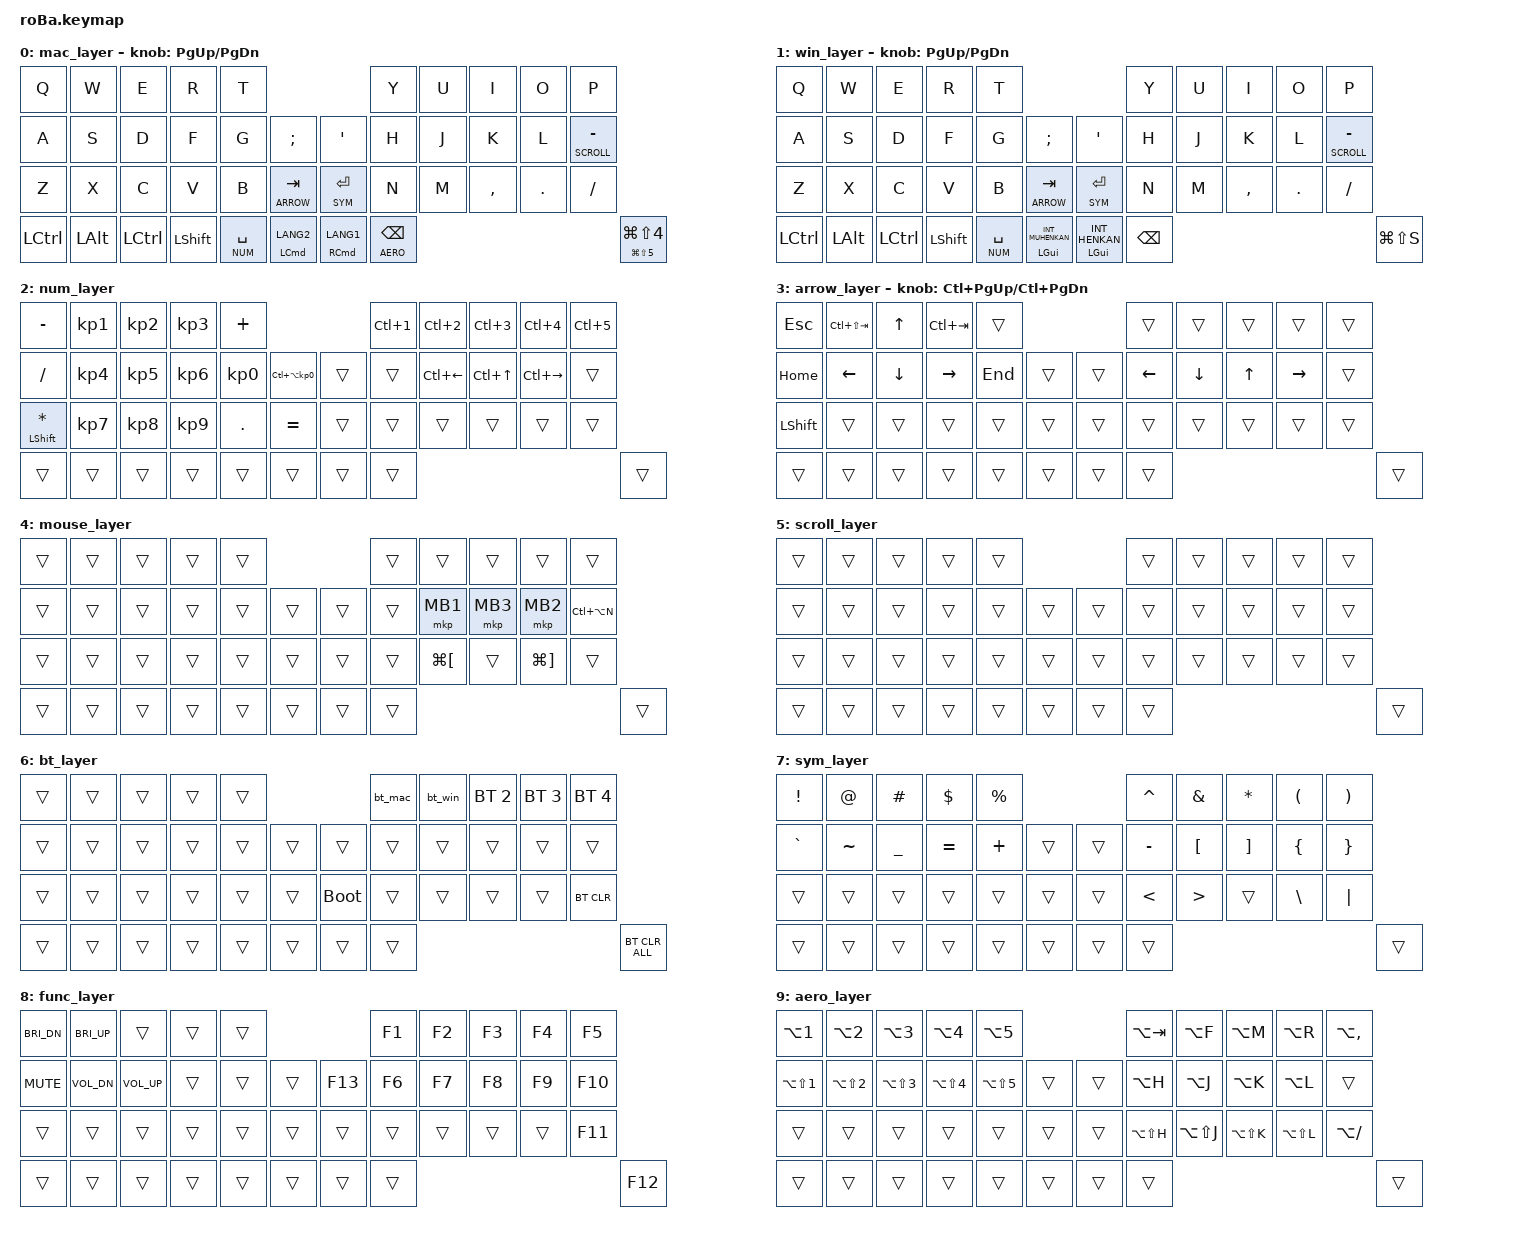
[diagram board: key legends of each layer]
#include <behaviors.dtsi>
#include <dt-bindings/zmk/bt.h>
#include <dt-bindings/zmk/keys.h>
#include <dt-bindings/zmk/pointing.h>
#include <input/processors.dtsi>

#define MAC 0
#define WIN 1
#define NUM 2
#define ARROW 3
#define MOUSE 4
#define SCROLL 5
#define BT 6
#define SYM 7
#define FUNC 8
#define AERO 9

&mt {
    flavor = "balanced";
    quick-tap-ms = <0>;
};

&trackball {
    scroll-layers = <SCROLL>;
};

/ {
    combos {
        compatible = "zmk,combos";

        tab {
            bindings = <&kp TAB>;
            key-positions = <11 12>;
        };

        shift_tab {
            bindings = <&kp LS(TAB)>;
            key-positions = <12 13>;
        };

        double_quotation {
            bindings = <&kp DOUBLE_QUOTES>;
            key-positions = <20 21>;
        };

        eq {
            bindings = <&kp EQUAL>;
            key-positions = <24 25>;
        };

        bt_layer {
            bindings = <&mo BT>;
            key-positions = <34 37>;
        };

        // ESC: Q + W
        esc {
            bindings = <&kp ESC>;
            key-positions = <0 1>;
        };

        // 前タブ: U + I (Ctrl+Shift+Tab)
        tab_prev {
            bindings = <&kp LC(LS(TAB))>;
            key-positions = <6 7>;
        };

        // 次タブ: I + O (Ctrl+Tab)
        tab_next {
            bindings = <&kp LC(TAB)>;
            key-positions = <7 8>;
        };

        // 戻る: M + , (Cmd+[)
        back {
            bindings = <&kp LG(LBKT)>;
            key-positions = <30 31>;
        };

        // 進む: , + . (Cmd+])
        forward {
            bindings = <&kp LG(RBKT)>;
            key-positions = <31 32>;
        };
    };

    macros {
        bt_mac: bt_mac {
            compatible = "zmk,behavior-macro";
            #binding-cells = <0>;
            bindings = <&bt BT_SEL 0 &to MAC>;
            label = "BT_MAC";
        };

        bt_win: bt_win {
            compatible = "zmk,behavior-macro";
            #binding-cells = <0>;
            bindings = <&bt BT_SEL 1 &to WIN>;
            label = "BT_WIN";
        };
    };

    behaviors {
        cmd_eisu: cmd_eisu {
            compatible = "zmk,behavior-hold-tap";
            label = "CMD_EISU";
            bindings = <&kp>, <&kp>;
            #binding-cells = <2>;
            tapping-term-ms = <200>;
            flavor = "balanced";
        };

        // hold: Cmd+Shift+5 / tap: Cmd+Shift+4
        ss_ht: ss_ht {
            compatible = "zmk,behavior-hold-tap";
            label = "SS_HT";
            bindings = <&kp>, <&kp>;
            #binding-cells = <2>;
            tapping-term-ms = <200>;
            flavor = "balanced";
        };
    };

    conditional_layers {
        compatible = "zmk,conditional-layers";

        // Space(NUM) + Enter(SYM) 同時押しで FUNC
        tri_layer {
            if-layers = <NUM SYM>;
            then-layer = <FUNC>;
        };
    };

    keymap {
        compatible = "zmk,keymap";

        // Layer 0: Mac
        mac_layer {
            bindings = <
&kp Q      &kp W         &kp E      &kp R           &kp T                                              &kp Y              &kp U  &kp I      &kp O         &kp P
&kp A      &kp S         &kp D      &kp F           &kp G          &kp SEMICOLON  &kp SQT              &kp H              &kp J  &kp K      &kp L  &lt SCROLL MINUS
&kp Z      &kp X         &kp C      &kp V           &kp B          &lt ARROW TAB  &lt SYM ENTER       &kp N              &kp M  &kp COMMA  &kp DOT  &kp SLASH
&kp LCTRL  &kp LEFT_ALT  &kp LCTRL  &kp LEFT_SHIFT  &lt NUM SPACE  &mt LCMD LANG2  &mt RCMD LANG1      &lt AERO BACKSPACE                                  &ss_ht LG(LS(N5)) LG(LS(N4))
            >;

            sensor-bindings = <&inc_dec_kp PG_UP PAGE_DOWN>;
        };

        // Layer 1: Windows (MACレイヤーと同じ体験 / Cmd相当=LGUI、英数/かな=無変換/変換)
        win_layer {
            bindings = <
&kp Q      &kp W         &kp E      &kp R           &kp T                                                       &kp Y                  &kp U  &kp I      &kp O    &kp P
&kp A      &kp S         &kp D      &kp F           &kp G          &kp SEMICOLON          &kp SQT              &kp H                  &kp J  &kp K      &kp L    &lt SCROLL MINUS
&kp Z      &kp X         &kp C      &kp V           &kp B          &lt ARROW TAB          &lt SYM ENTER       &kp N                  &kp M  &kp COMMA  &kp DOT  &kp SLASH
&kp LCTRL  &kp LEFT_ALT  &kp LCTRL  &kp LEFT_SHIFT  &lt NUM SPACE  &mt LGUI INT_MUHENKAN  &mt LGUI INT_HENKAN  &kp BACKSPACE                                       &kp LG(LS(S))
            >;

            sensor-bindings = <&inc_dec_kp PG_UP PAGE_DOWN>;
        };

        // Layer 2: NUM (共通)
        // 左手=電卓配列の数字 / 右手=macOS Spaces操作
        // 上段Y-P=デスクトップ1-5へ直接ジャンプ(Ctrl+1-5、要システム設定で有効化)
        // J/L=左右のスペースへ(Ctrl+←/→)、K=Mission Control(Ctrl+↑)
        num_layer {
            bindings = <
&kp MINUS                &kp KP_NUMBER_1  &kp KP_NUMBER_2  &kp KP_NUMBER_3  &kp PLUS                                                      &kp LC(N1)  &kp LC(N2)    &kp LC(N3)  &kp LC(N4)     &kp LC(N5)
&kp SLASH                &kp KP_NUMBER_4  &kp KP_NUMBER_5  &kp KP_NUMBER_6  &kp KP_NUMBER_0  &kp LC(LA(KP_NUMBER_0))      &trans          &trans      &kp LC(LEFT)  &kp LC(UP)  &kp LC(RIGHT)  &trans
&mt LEFT_SHIFT ASTERISK  &kp KP_NUMBER_7  &kp KP_NUMBER_8  &kp KP_NUMBER_9  &kp PERIOD       &kp EQUAL                    &trans          &trans      &trans        &trans      &trans         &trans
&trans                   &trans           &trans           &trans           &trans           &trans                       &trans          &trans                                                &trans
            >;
        };

        // Layer 3: ARROW (共通)
        arrow_layer {
            bindings = <
&kp ESCAPE      &kp LC(LS(TAB))  &kp UP_ARROW    &kp LC(TAB)      &trans                       &trans  &trans  &trans  &trans  &trans
&kp HOME        &kp LEFT_ARROW   &kp DOWN_ARROW  &kp RIGHT_ARROW  &kp END  &trans      &trans  &kp LEFT_ARROW  &kp DOWN_ARROW  &kp UP_ARROW  &kp RIGHT_ARROW  &trans
&kp LEFT_SHIFT  &trans           &trans          &trans           &trans   &trans      &trans  &trans  &trans  &trans  &trans  &trans
&trans          &trans           &trans          &trans           &trans   &trans      &trans  &trans                          &trans
            >;

            sensor-bindings = <&inc_dec_kp LC(PAGE_UP) LC(PAGE_DOWN)>;
        };

        // Layer 4: MOUSE (自動 via zip_temp_layer)
        mouse_layer {
            bindings = <
&trans  &trans  &trans  &trans  &trans                      &trans  &trans        &trans    &trans        &trans
&trans  &trans  &trans  &trans  &trans  &trans      &trans  &trans  &mkp MB1     &mkp MB3  &mkp MB2      &kp LC(LA(N))
&trans  &trans  &trans  &trans  &trans  &trans      &trans  &trans  &kp LG(LBKT) &trans    &kp LG(RBKT)  &trans
&trans  &trans  &trans  &trans  &trans  &trans      &trans  &trans                                       &trans
            >;
        };

        // Layer 5: SCROLL
        scroll_layer {
            bindings = <
&trans  &trans  &trans  &trans  &trans                      &trans  &trans  &trans  &trans  &trans
&trans  &trans  &trans  &trans  &trans  &trans      &trans  &trans  &trans  &trans  &trans  &trans
&trans  &trans  &trans  &trans  &trans  &trans      &trans  &trans  &trans  &trans  &trans  &trans
&trans  &trans  &trans  &trans  &trans  &trans      &trans  &trans                          &trans
            >;
        };

        // Layer 6: BT設定 + Mac/Windows切替
        bt_layer {
            bindings = <
&trans  &trans  &trans  &trans  &trans                           &bt_mac  &bt_win  &bt BT_SEL 2  &bt BT_SEL 3  &bt BT_SEL 4
&trans  &trans  &trans  &trans  &trans  &trans      &trans       &trans   &trans   &trans        &trans        &trans
&trans  &trans  &trans  &trans  &trans  &trans      &bootloader  &trans   &trans   &trans        &trans        &bt BT_CLR
&trans  &trans  &trans  &trans  &trans  &trans      &trans       &trans                                        &bt BT_CLR_ALL
            >;
        };

        // Layer 7: SYM (記号・US Shift準拠。上段=US数字段のShiftと同じ並び)
        sym_layer {
            bindings = <
&kp EXCL   &kp AT     &kp HASH   &kp DLLR   &kp PRCNT                        &kp CARET  &kp AMPS  &kp ASTRK  &kp LPAR  &kp RPAR
&kp GRAVE  &kp TILDE  &kp UNDER  &kp EQUAL  &kp PLUS   &trans      &trans    &kp MINUS  &kp LBKT  &kp RBKT   &kp LBRC  &kp RBRC
&trans     &trans     &trans     &trans     &trans     &trans      &trans    &kp LT     &kp GT    &trans     &kp BSLH  &kp PIPE
&trans     &trans     &trans     &trans     &trans     &trans      &trans    &trans                                    &trans
            >;
        };

        // Layer 8: FUNCTION (共通・Space+Enter同時押しのtri-layerで進入)
        func_layer {
            bindings = <
&kp C_BRI_DN  &kp C_BRI_UP  &trans  &trans  &trans                       &kp F1  &kp F2  &kp F3  &kp F4  &kp F5
&kp C_MUTE  &kp C_VOL_DN  &kp C_VOL_UP  &trans  &trans  &trans      &kp F13  &kp F6  &kp F7  &kp F8  &kp F9  &kp F10
&trans  &trans  &trans  &trans  &trans  &trans      &trans   &trans  &trans  &trans  &trans  &kp F11
&trans  &trans  &trans  &trans  &trans  &trans      &trans   &trans                          &kp F12
            >;
        };

        // Layer 9: AeroSpace (BACKSPACE hold で進入)
        // 左上段=ワークスペース1-5 / 左ホーム=WSへ移動1-5
        // 右ホーム H/J/K/L=フォーカス / 右下段 N/M/,/.=ウィンドウ移動
        // Y=直前WS U=全画面 I=macネイティブ全画面 O=リサイズ P=分割向き / =レイアウト
        aero_layer {
            bindings = <
&kp LA(N1)      &kp LA(N2)      &kp LA(N3)      &kp LA(N4)      &kp LA(N5)                          &kp LA(TAB)  &kp LA(F)      &kp LA(M)      &kp LA(R)      &kp LA(COMMA)
&kp LA(LS(N1))  &kp LA(LS(N2))  &kp LA(LS(N3))  &kp LA(LS(N4))  &kp LA(LS(N5))  &trans      &trans  &kp LA(H)    &kp LA(J)      &kp LA(K)      &kp LA(L)      &trans
&trans          &trans          &trans          &trans          &trans          &trans      &trans  &kp LA(LS(H))  &kp LA(LS(J))  &kp LA(LS(K))  &kp LA(LS(L))  &kp LA(SLASH)
&trans          &trans          &trans          &trans          &trans          &trans      &trans   &trans                                                      &trans
            >;
        };
    };
};
